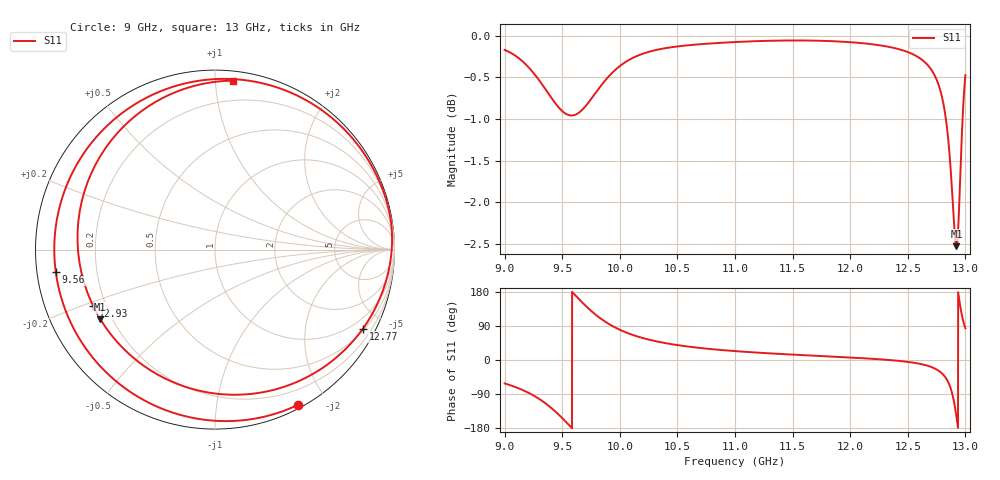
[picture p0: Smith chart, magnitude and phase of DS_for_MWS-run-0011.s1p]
! TOUCHSTONE file generated by CST DESIGN STUDIO
! Date and time: Tue Feb  4 16:27:54 2025
! Project name: C:\Work\MatlabApps\UnitCellOptimizationMatlab\CST\unitcell.cst
! Tree item: Tasks\Sweep1\SPara1\S-Parameters
! Header version: 2024
! Port assignment regex: !\s*Touchstone port\s*([0-9]+)\s*=\s*(CST MWS port|CST DES external port|CST DES block port)\s*(.+)\s* \(\"(.*)\"\)(\s*mode\s*([0-9]+))?.*
! Touchstone port assignment:
! Touchstone port 1 = CST DES external port 1 ("")
# GHz S MA R 50
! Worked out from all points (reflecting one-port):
!   4001 points, 9 GHz to 13 GHz, reference 50 ohm
!   lowest |S11| = -2.5 dB at 12.92 GHz (marker M1), VSWR 6.92, Z = 7.78 - j13.7 ohm
!   phase of S11 starts at -62 deg and turns -574 deg over the sweep
!   S11 on the Smith chart (normalised r, x): 9 GHz: 0.04, -1.67; 9.56 GHz: 0.06, -0.07; 12.77 GHz: 0.56, -3.91; 12.93 GHz: 0.15, -0.22; 13 GHz: 0.06, +1.11
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9  0.9805 -61.8
9.15  0.9659 -78.3
9.301  0.94 -102.9
9.403  0.9183 -125.9
9.5  0.901 -153.2
9.56  0.8959 -172.0
9.656  0.9002 157.4
9.775  0.9209 123.4
9.876  0.9405 100.6
10  0.9588 79.8
10.216  0.9762 56.6
10.5  0.9852 39.3
11  0.9912 23.5
11.5  0.9934 14.2
12  0.9911 6.5
12.5  0.9776 -5.0
12.658  0.9625 -13.9
12.767  0.9344 -28.2
12.833  0.8887 -48.7
12.857  0.8575 -62.5
12.879  0.8178 -81.4
12.902  0.7698 -111.5
12.922  0.7474 -148.7
12.925  0.7481 -155.1
12.944  0.7836 164.1
12.966  0.8609 123.6
12.982  0.9096 101.8
13  0.9469 83.8
